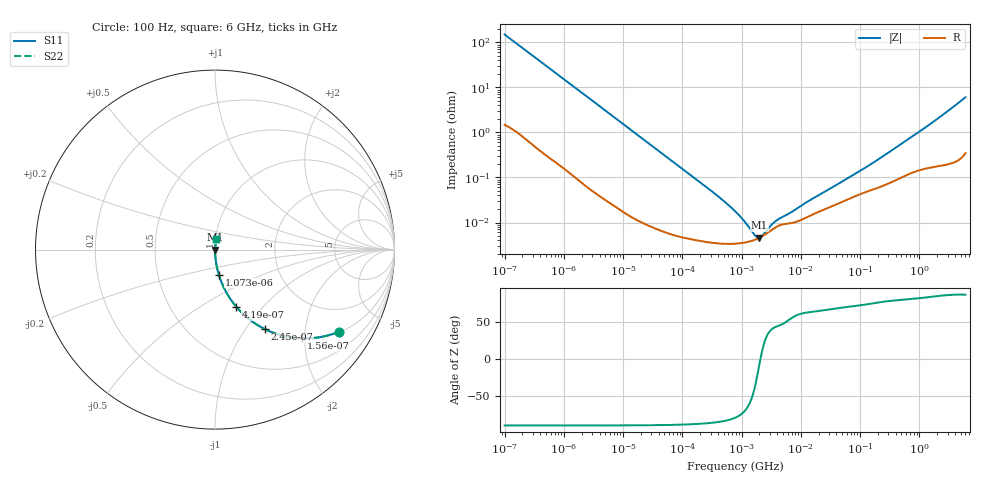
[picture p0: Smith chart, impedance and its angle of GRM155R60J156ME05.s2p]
!Murata Part Number: GRM155R60J156ME05
!These Parameters are Measured in Series Mode Connection
!Data Generated on Mar 30, 2021
!  o--ll--o
!Port1  Port2
!  o------o
!Operation Temp=25[degC], DC Bias Voltage=0[V]
!Freq. Start=100[Hz] Stop=6[GHz] 401[Steps]
# Hz S RI R 50
!Freq.(Hz) S11(Real) S11(Imag) S21(Real) S21(Imag) S12(Real) S12(Imag) S22(Real) S22(Imag)
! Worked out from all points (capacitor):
!   401 points, 100 Hz to 6 GHz, reference 50 ohm
!   read as one part in series: C = 10.5 uF near 109 Hz
!   lowest |Z| = 4.62 mohm at 1.983 MHz (marker M1)
!   series resonance near 2.079 MHz, so ESL is about 560 pH
!   S11 on the Smith chart (normalised r, x): 100 Hz: 1.03, -3.01; 156 Hz: 1.02, -1.93; 245 Hz: 1.01, -1.24; 419 Hz: 1.01, -0.73; 1.073 kHz: 1.00, -0.29; 6 GHz: 1.01, +0.12
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100  0.6919 -0.4568  0.3081 0.4568  0.3081 0.4568  0.6919 -0.4568
156  0.4826 -0.4943  0.5174 0.4943  0.5174 0.4943  0.4826 -0.4943
245  0.2793 -0.4434  0.7207 0.4434  0.7207 0.4434  0.2793 -0.4434
320  0.1861 -0.3841  0.8139 0.3841  0.8139 0.3841  0.1861 -0.3841
419  0.119 -0.3187  0.881 0.3187  0.881 0.3187  0.119 -0.3187
627  0.058 -0.2286  0.942 0.2286  0.942 0.2286  0.058 -0.2286
1073  0.0213 -0.1394  0.9787 0.1394  0.9787 0.1394  0.0213 -0.1394
2008  0.00657 -0.076  0.9934 0.076  0.9934 0.076  0.00657 -0.076
6433  0.000831 -0.024  0.9992 0.024  0.9992 0.024  0.000831 -0.024
40335  8.32e-05 -0.00387  0.9999 0.00387  0.9999 0.00387  8.32e-05 -0.00387
330837  3.54e-05 -0.000467  1 0.000467  1 0.000467  3.54e-05 -0.000467
774597  3.38e-05 -0.000176  1 0.000176  1 0.000176  3.38e-05 -0.000176
1059725  3.53e-05 -0.00011  1 0.00011  1 0.00011  3.53e-05 -0.00011
1212075  3.65e-05 -8.53e-05  1 8.53e-05  1 8.53e-05  3.65e-05 -8.53e-05
1983483  4.57e-05 -6.8e-06  1 6.8e-06  1 6.8e-06  4.57e-05 -6.8e-06
3549919  7.46e-05 6.81e-05  0.9999 -6.81e-05  0.9999 -6.81e-05  7.46e-05 6.81e-05
6644369  9.63e-05 0.000133  0.9999 -0.000133  0.9999 -0.000133  9.63e-05 0.000133
1.555665e7  0.000149 0.000301  0.9999 -0.000301  0.9999 -0.000301  0.000149 0.000301
1.066761e8  0.000441 0.00141  0.9996 -0.00141  0.9996 -0.00141  0.000441 0.00141
3.124326e8  0.000761 0.00361  0.9992 -0.00361  0.9992 -0.00361  0.000761 0.00361
1.431855e9  0.00183 0.0143  0.9982 -0.0143  0.9982 -0.0143  0.00183 0.0143
6e9  0.00705 0.0598  0.9929 -0.0598  0.9929 -0.0598  0.00705 0.0598
